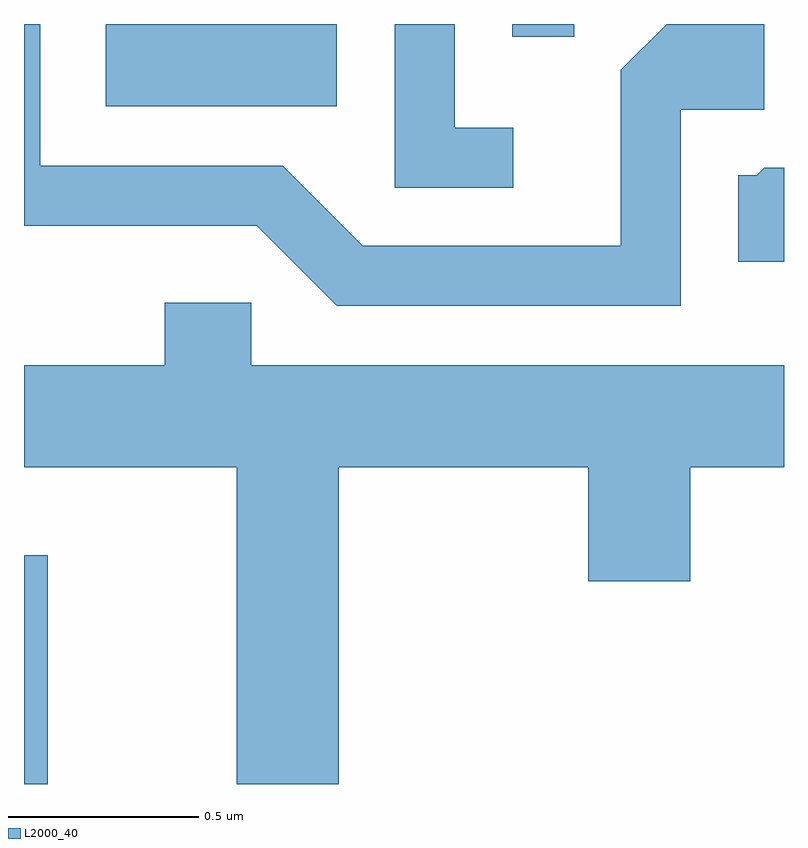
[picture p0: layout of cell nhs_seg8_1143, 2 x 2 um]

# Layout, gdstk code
import gdstk
lib = gdstk.Library(unit=1e-6, precision=1e-09)
def R(c, l, rs):  # rectangles x0, y0, x1, y1
    for r in rs: c.add(gdstk.rectangle(r[:2], r[2:], *l))
def P(c, l, *ps):  # polygons
    for p in ps: c.add(gdstk.Polygon(p, *l))
L2000_40 = (2000, 40)

nhs_seg8_1143 = lib.new_cell('nhs_seg8_1143')
R(nhs_seg8_1143, L2000_40, [(193.611,1853.342,193.674,1853.944), (193.826,1855.126,194.434,1855.342), (194.896,1855.308,195.059,1855.342)])
P(nhs_seg8_1143, L2000_40, [(195.339,1855.116),(195.559,1855.116),(195.559,1855.342),(195.302,1855.342),(195.181,1855.222),(195.181,1854.759),(194.502,1854.759),(194.292,1854.969),(193.654,1854.969),(193.654,1855.342),(193.611,1855.342),(193.611,1854.811),(194.224,1854.811),(194.434,1854.601),(195.339,1854.601)],
  [(194.898,1855.069),(194.744,1855.069),(194.744,1855.342),(194.586,1855.342),(194.586,1854.911),(194.898,1854.911)],
  [(195.611,1854.964),(195.559,1854.964),(195.539,1854.944),(195.491,1854.944),(195.491,1854.716),(195.611,1854.716)],
  [(194.439,1854.176),(195.096,1854.176),(195.096,1853.876),(195.364,1853.876),(195.364,1854.176),(195.611,1854.176),(195.611,1854.444),(194.209,1854.444),(194.209,1854.609),(193.981,1854.609),(193.981,1854.444),(193.611,1854.444),(193.611,1854.176),(194.171,1854.176),(194.171,1853.342),(194.439,1853.342)])

lib.write_gds('nhs_seg8_1143.gds')
